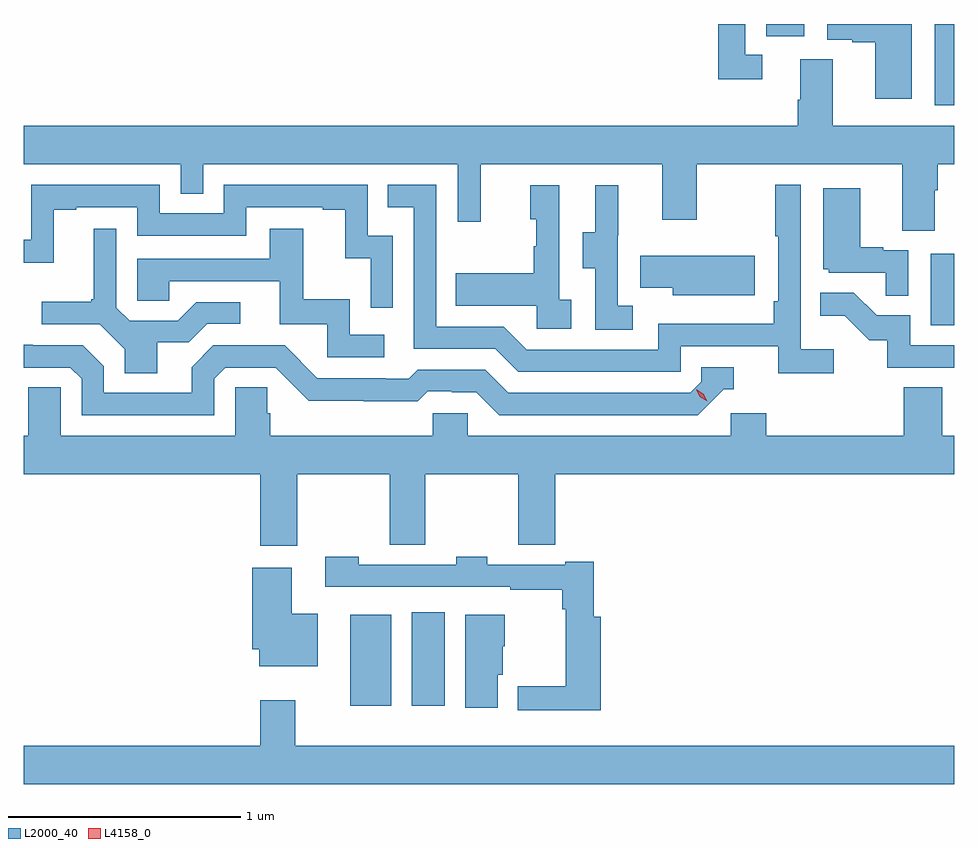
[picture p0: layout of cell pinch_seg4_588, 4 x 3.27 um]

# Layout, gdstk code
import gdstk
lib = gdstk.Library(unit=1e-6, precision=1e-09)
def R(c, l, rs):  # rectangles x0, y0, x1, y1
    for r in rs: c.add(gdstk.rectangle(r[:2], r[2:], *l))
def P(c, l, *ps):  # polygons
    for p in ps: c.add(gdstk.Polygon(p, *l))
L2000_40 = (2000, 40)
L4158_0 = (4158, 0)

pinch_seg4_588 = lib.new_cell('pinch_seg4_588')
R(pinch_seg4_588, L2000_40, [(1044.206,769.184,1044.382,769.576), (1044.47,769.184,1044.613,769.585), (1046.702,770.82,1046.803,771.127), (1046.718,771.765,1046.803,772.114), (1045.994,772.062,1046.158,772.114)])
P(pinch_seg4_588, L2000_40, [(1046.62,772.114),(1046.256,772.114),(1046.256,772.047),(1046.363,772.047),(1046.363,772.035),(1046.462,772.035),(1046.462,771.792),(1046.62,771.792)],
  [(1045.978,771.981),(1045.905,771.981),(1045.905,772.114),(1045.789,772.114),(1045.789,771.876),(1045.978,771.876)],
  [(1046.719,771.4),(1046.732,771.4),(1046.732,771.512),(1046.803,771.512),(1046.803,771.676),(1046.281,771.676),(1046.281,771.962),(1046.141,771.962),(1046.141,771.788),(1046.129,771.788),(1046.129,771.676),(1042.803,771.676),(1042.803,771.512),(1043.478,771.512),(1043.478,771.385),(1043.574,771.385),(1043.574,771.512),(1044.669,771.512),(1044.669,771.264),(1044.767,771.264),(1044.767,771.512),(1045.547,771.512),(1045.547,771.273),(1045.695,771.273),(1045.695,771.512),(1046.579,771.512),(1046.579,771.226),(1046.719,771.226)],
  [(1046.284,770.716),(1046.142,770.716),(1046.142,771.424),(1046.034,771.424),(1046.034,771.202),(1046.046,771.202),(1046.046,770.923),(1046.026,770.923),(1046.026,770.826),(1045.53,770.826),(1045.53,770.715),(1044.966,770.715),(1044.867,770.814),(1044.576,770.814),(1044.576,771.423),(1044.367,771.423),(1044.367,771.327),(1044.48,771.327),(1044.48,770.718),(1044.83,770.718),(1044.929,770.619),(1045.626,770.619),(1045.626,770.73),(1046.045,770.73),(1046.045,770.614),(1046.284,770.614)],
  [(1044.39,771.204),(1044.282,771.204),(1044.282,771.423),(1043.664,771.423),(1043.664,771.3),(1043.388,771.3),(1043.388,771.423),(1042.836,771.423),(1042.836,771.187),(1042.803,771.187),(1042.803,771.089),(1042.933,771.089),(1042.933,771.315),(1043.029,771.315),(1043.029,771.327),(1043.292,771.327),(1043.292,771.204),(1043.76,771.204),(1043.76,771.327),(1044.089,771.327),(1044.089,771.315),(1044.185,771.315),(1044.185,771.107),(1044.294,771.107),(1044.294,770.895),(1044.39,770.895)],
  [(1045.42,770.903),(1045.356,770.903),(1045.356,771.207),(1045.358,771.207),(1045.358,771.421),(1045.259,771.421),(1045.259,771.219),(1045.205,771.219),(1045.205,771.064),(1045.26,771.064),(1045.26,770.8),(1045.42,770.8)],
  [(1045.156,770.93),(1045.104,770.93),(1045.104,771.421),(1044.98,771.421),(1044.98,771.276),(1045.006,771.276),(1045.006,771.158),(1044.996,771.158),(1044.996,771.043),(1044.661,771.043),(1044.661,770.903),(1045.008,770.903),(1045.008,770.805),(1045.156,770.805)],
  [(1046.604,771.141),(1046.498,771.141),(1046.498,771.154),(1046.398,771.154),(1046.398,771.409),(1046.24,771.409),(1046.24,771.06),(1046.262,771.06),(1046.262,771.045),(1046.509,771.045),(1046.509,770.947),(1046.604,770.947)],
  [(1044.352,770.778),(1044.204,770.778),(1044.204,770.932),(1044.005,770.932),(1044.005,771.235),(1043.861,771.235),(1043.861,771.105),(1043.292,771.105),(1043.292,770.925),(1043.429,770.925),(1043.429,771.009),(1043.903,771.009),(1043.903,770.823),(1044.108,770.823),(1044.108,770.682),(1044.352,770.682)],
  [(1043.377,770.746),(1043.512,770.746),(1043.592,770.826),(1043.734,770.826),(1043.734,770.919),(1043.546,770.919),(1043.465,770.838),(1043.259,770.838),(1043.202,770.895),(1043.202,771.235),(1043.105,771.235),(1043.105,770.932),(1043.094,770.932),(1043.094,770.92),(1042.881,770.92),(1042.881,770.823),(1043.13,770.823),(1043.237,770.716),(1043.237,770.614),(1043.377,770.614)],
  [(1045.945,771.118),(1045.453,771.118),(1045.453,770.981),(1045.592,770.981),(1045.592,770.948),(1045.945,770.948)],
  [(1046.803,770.733),(1046.613,770.733),(1046.613,770.862),(1046.469,770.862),(1046.371,770.96),(1046.227,770.96),(1046.227,770.861),(1046.331,770.861),(1046.438,770.754),(1046.515,770.754),(1046.515,770.637),(1046.803,770.637)],
  [(1043.622,770.589),(1043.67,770.637),(1043.886,770.637),(1044.028,770.495),(1044.264,770.495),(1044.264,770.493),(1044.497,770.493),(1044.539,770.535),(1044.642,770.535),(1044.642,770.532),(1044.749,770.532),(1044.848,770.433),(1045.701,770.433),(1045.812,770.544),(1045.855,770.544),(1045.855,770.64),(1045.716,770.64),(1045.716,770.577),(1045.668,770.529),(1044.885,770.529),(1044.786,770.628),(1044.497,770.628),(1044.458,770.589),(1044.359,770.589),(1044.359,770.592),(1044.066,770.592),(1043.925,770.733),(1043.619,770.733),(1043.525,770.639),(1043.525,770.529),(1043.148,770.529),(1043.148,770.643),(1043.058,770.733),(1042.842,770.733),(1042.842,770.735),(1042.803,770.735),(1042.803,770.637),(1043.004,770.637),(1043.052,770.589),(1043.052,770.433),(1043.622,770.433)],
  [(1043.978,770.18),(1044.376,770.18),(1044.376,769.876),(1044.53,769.876),(1044.53,770.18),(1044.928,770.18),(1044.928,769.876),(1045.088,769.876),(1045.088,770.18),(1046.803,770.18),(1046.803,770.344),(1046.75,770.344),(1046.75,770.552),(1046.585,770.552),(1046.585,770.344),(1045.994,770.344),(1045.994,770.442),(1045.842,770.442),(1045.842,770.344),(1044.711,770.344),(1044.711,770.442),(1044.561,770.442),(1044.561,770.344),(1043.864,770.344),(1043.864,770.442),(1043.849,770.442),(1043.849,770.552),(1043.712,770.552),(1043.712,770.344),(1042.962,770.344),(1042.962,770.552),(1042.823,770.552),(1042.823,770.344),(1042.803,770.344),(1042.803,770.18),(1043.819,770.18),(1043.819,769.872),(1043.978,769.872)],
  [(1045.283,769.567),(1045.253,769.567),(1045.253,769.804),(1045.13,769.804),(1045.13,769.791),(1044.795,769.791),(1044.795,769.824),(1044.663,769.824),(1044.663,769.791),(1044.243,769.791),(1044.243,769.824),(1044.099,769.824),(1044.099,769.695),(1044.895,769.695),(1044.895,769.683),(1045.117,769.683),(1045.117,769.598),(1045.132,769.598),(1045.132,769.268),(1044.927,769.268),(1044.927,769.166),(1045.283,769.166)],
  [(1044.067,769.579),(1043.956,769.579),(1043.956,769.777),(1043.786,769.777),(1043.786,769.428),(1043.816,769.428),(1043.816,769.355),(1044.067,769.355)],
  [(1044.841,769.317),(1044.862,769.317),(1044.862,769.44),(1044.871,769.44),(1044.871,769.576),(1044.701,769.576),(1044.701,769.176),(1044.841,769.176)],
  [(1046.803,769.012),(1043.971,769.012),(1043.971,769.207),(1043.819,769.207),(1043.819,769.012),(1042.803,769.012),(1042.803,768.848),(1046.803,768.848)])
P(pinch_seg4_588, L4158_0, [(1045.74,770.492),(1045.709,770.512),(1045.693,770.544),(1045.693,770.544),(1045.693,770.544),(1045.724,770.525),(1045.74,770.492),(1045.74,770.492)])

lib.write_gds('pinch_seg4_588.gds')
